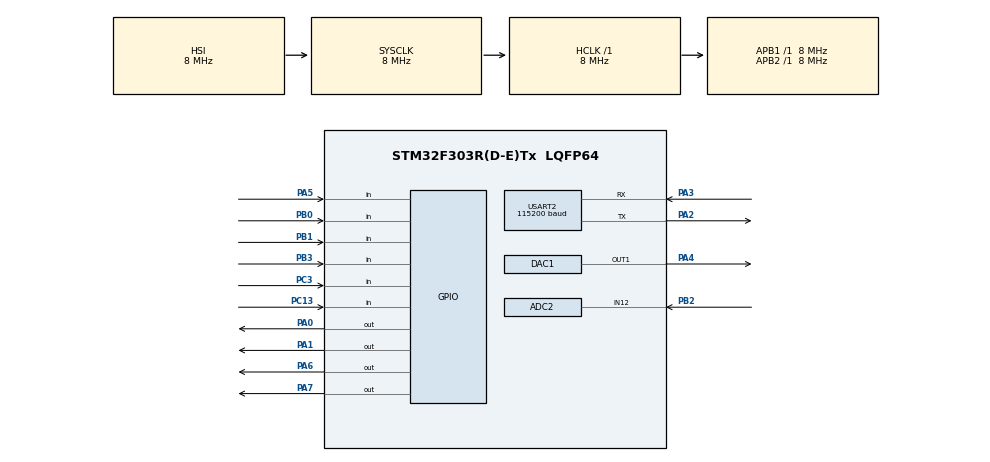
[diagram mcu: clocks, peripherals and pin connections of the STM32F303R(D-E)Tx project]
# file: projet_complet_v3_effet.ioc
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ADC2.Channel-0\#ChannelRegularConversion=ADC_CHANNEL_12
ADC2.NbrOfConversionFlag=1
ADC2.Offset-0\#ChannelRegularConversion=0
ADC2.OffsetNumber-0\#ChannelRegularConversion=ADC_OFFSET_NONE
ADC2.Rank-0\#ChannelRegularConversion=1
ADC2.SamplingTime-0\#ChannelRegularConversion=ADC_SAMPLETIME_1CYCLE_5
ADC2.SamplingTimeOPAMP-0\#ChannelRegularConversion=ADC_SAMPLETIME_4CYCLES_5
Mcu.Family=STM32F3
Mcu.Name=STM32F303R(D-E)Tx
Mcu.Package=LQFP64
NVIC.PriorityGroup=NVIC_PRIORITYGROUP_4
NVIC.TIM2_IRQn=true\:0\:0\:false\:false\:true\:true\:true\:true
NVIC.TIM6_DAC_IRQn=true\:0\:0\:false\:false\:true\:true\:true\:true
PA0.Signal=GPIO_Output
PA1.Signal=GPIO_Output
PA2.Mode=Asynchronous
PA2.Signal=USART2_TX
PA3.Mode=Asynchronous
PA3.Signal=USART2_RX
PA4.Signal=COMP_DAC11_group
PA5.GPIO_PuPd=GPIO_PULLUP
PA5.Signal=GPIO_Input
PA6.Signal=GPIO_Output
PA7.Signal=GPIO_Output
PB0.GPIO_PuPd=GPIO_PULLUP
PB0.Signal=GPIO_Input
PB1.GPIO_PuPd=GPIO_PULLUP
PB1.Signal=GPIO_Input
PB2.Mode=IN12-Single-Ended
PB2.Signal=ADC2_IN12
PB3.GPIO_PuPd=GPIO_PULLUP
PB3.Signal=GPIO_Input
PC13.GPIO_PuPd=GPIO_PULLUP
PC13.Signal=GPIO_Input
PC3.GPIO_PuPd=GPIO_PULLUP
PC3.Signal=GPIO_Input
ProjectManager.HeapSize=0x200
ProjectManager.StackSize=0x400
ProjectManager.TargetToolchain=STM32CubeIDE
RCC.AHBFreq_Value=8000000
RCC.APB1Freq_Value=8000000
RCC.APB2Freq_Value=8000000
RCC.CortexFreq_Value=8000000
RCC.HSE_VALUE=8000000
RCC.HSI_VALUE=8000000
RCC.LSE_VALUE=32768
RCC.PLLMUL=RCC_PLL_MUL4
RCC.SYSCLKFreq_VALUE=8000000
RCC.USBFreq_Value=16000000
SH.COMP_DAC11_group.0=DAC1_OUT1,DAC_OUT1
TIM2.Period=362
TIM2.TIM_MasterOutputTrigger=TIM_TRGO_UPDATE
TIM6.Period=\ 999
TIM6.Prescaler=7999
USART2.BaudRate=115200
USART2.VirtualMode-Asynchronous=VM_ASYNC
VP_TIM2_VS_ClockSourceINT.Mode=Internal
VP_TIM6_VS_ClockSourceINT.Mode=Enable_Timer
board=custom

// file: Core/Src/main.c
/* USER CODE BEGIN Header */
/**
 ******************************************************************************
 * @file : main.c
 * @brief : Main program body

 ******************************************************************************
 * @attention
 *
 * Copyright (c) 2026 STMicroelectronics.
 * All rights reserved.
 *
 * This software is licensed under terms that can be found in the LICENSE file
 * in the root directory of this software component.
 * If no LICENSE file comes with this software, it is provided AS-IS.
 *
 ******************************************************************************
 */

/* USER CODE END Header */

#include "main.h"

ADC_HandleTypeDef hadc2;
DAC_HandleTypeDef hdac1;
TIM_HandleTypeDef htim2;
TIM_HandleTypeDef htim6;
UART_HandleTypeDef huart2;

/* USER CODE BEGIN PV */

static float melody[] = {
 220, 246, 261, 293,
 329, 349, 392, 440,
 494, 523, 587, 659,
 698, 784, 880, 988
};

#define MELODY_LEN 16

volatile uint8_t note_index = 0;
volatile uint8_t sequencer_running = 0;

/* USER CODE END PV */
void SystemClock_Config(void);
static void MX_GPIO_Init(void);
static void MX_TIM2_Init(void);
static void MX_DAC1_Init(void);
static void MX_USART2_UART_Init(void);
static void MX_ADC2_Init(void);
static void MX_TIM6_Init(void);

/* USER CODE BEGIN 0 */

#define FS 22038.0f // fréquence échantillonnage
volatile float F0 = 988.0f;
volatile uint8_t effect_mode = 255;

char key = 0;
char keypad[4][4] =
{

 {'1','2','3','A'},
 {'4','5','6','B'},
 {'7','8','9','C'},
 {'0','F','E','D'}

};
static float freq_table[16] =

{
 220, 246, 261, 293,
 329, 349, 392, 440,
 494, 523, 587, 659,
698, 784, 880, 988
};

char last_key = 0;
char Keypad_Scan(void)
{
 GPIO_TypeDef* rowPorts[4] = {GPIOA, GPIOA, GPIOA, GPIOA};
 uint16_t rowPins[4] = {GPIO_PIN_0, GPIO_PIN_1, GPIO_PIN_6, GPIO_PIN_7};

 GPIO_TypeDef* colPorts[4] = {GPIOB, GPIOB, GPIOA, GPIOB};
 uint16_t colPins[4] = {GPIO_PIN_0, GPIO_PIN_1, GPIO_PIN_5, GPIO_PIN_3};

 for(int r = 0; r < 4; r++)
 {
 HAL_GPIO_WritePin(GPIOA,
 GPIO_PIN_0|GPIO_PIN_1|GPIO_PIN_6|GPIO_PIN_7,
 GPIO_PIN_SET);
 HAL_GPIO_WritePin(rowPorts[r], rowPins[r], GPIO_PIN_RESET);
 for(int c = 0; c < 4; c++)
 {
 if(HAL_GPIO_ReadPin(colPorts[c], colPins[c]) == GPIO_PIN_RESET)

{
 char current_key = keypad[r][c];
 if (current_key != last_key)

 {

 last_key = current_key;
 return current_key;
 }

 return 0;

 }

 }

 }

 last_key = 0;

 return 0;

}

// coefficients du filtre
static float b[3] = { 0.0168f, 0.0336f, 0.0168f };
static float a[3] = { 1.0f, -1.6011f, 0.6684f };
static float w[3] = { 0.0f, 0.0f, 0.0f };

float iir_filter(float x)

{

 float w0 = x - a[1]*w[1] - a[2]*w[2];
 float y = b[0]*w0 + b[1]*w[1] + b[2]*w[2];
 w[2] = w[1];
 w[1] = w0;
 return y;

}

void HAL_TIM_PeriodElapsedCallback(TIM_HandleTypeDef *htim)

{

 if (htim->Instance == TIM6)

 {

 if (sequencer_running)

 {

 F0 = melody[note_index];

 note_index = (note_index + 1) % MELODY_LEN;

 }

 }

 if (htim->Instance != TIM2) return;
 static float phase = 0.0f;

 /* 1. Carré à f= Hz */
 float sample = 0.0f;

 if (effect_mode == 2)

 sample = 2.0f * phase - 1.0f;
 else

 sample = (phase < 0.5f) ? 1.0f : -1.0f;
 phase += F0 / FS;
 if (phase >= 1.0f) phase -= 1.0f;

 /* 2. Filtre IIR seulement si effet 0 */
 if (effect_mode == 0)
 sample = iir_filter(sample);

 /* 3. CLAMPING — empêche le dépassement */

 if (sample > 1.0f) sample = 1.0f;
 if (sample < -1.0f) sample = -1.0f;

 /* 4. DAC : [-1,+1] → [0, 4095] */

 if (effect_mode == 255)
 HAL_DAC_SetValue(&hdac1, DAC_CHANNEL_1, DAC_ALIGN_12B_R, 2048);
 else

 {

 uint32_t val = (uint32_t)((sample + 1.0f) * 0.5f * 4095.0f);
 HAL_DAC_SetValue(&hdac1, DAC_CHANNEL_1, DAC_ALIGN_12B_R, val);

 }

}

/* USER CODE END 0 */

int main(void)

{

 /* MCU Configuration--------------------------------------------------------*/

 /* Reset of all peripherals, Initializes the Flash interface and the Systick. */

 HAL_Init();

 /* Configure the system clock */
 SystemClock_Config();

 /* Initialize all configured peripherals */

 MX_GPIO_Init();
 MX_TIM2_Init();
 MX_DAC1_Init();
 MX_USART2_UART_Init();
 MX_ADC2_Init();
 MX_TIM6_Init();

 /* USER CODE BEGIN 2 */

 HAL_DAC_Start(&hdac1, DAC_CHANNEL_1);
 HAL_TIM_Base_Start_IT(&htim2);
 HAL_TIM_Base_Start_IT(&htim6);

 /* USER CODE END 2 */
 /* Infinite loop */
 while (1)
 {

 key = Keypad_Scan();
 if (key == 'A') { if (effect_mode == 0) effect_mode = 255; else { effect_mode = 0; w[0]=w[1]=w[2]=0.0f; } }
 if (key == 'B') { if (effect_mode == 1) effect_mode = 255; else effect_mode = 1; }
 if (key == 'C') { if (effect_mode == 2) effect_mode = 255; else effect_mode = 2; }
 if (key != 0 && !sequencer_running) // clavier actif seulement si séquenceur OFF

 {

 for (int r = 0; r < 4; r++)
 for (int c = 0; c < 4; c++)
 if (keypad[r][c] == key)

 F0 = freq_table[r * 4 + c];

 }

 // Bouton START/STOP

 static uint8_t btn_prev = 1;
 uint8_t btn_now = HAL_GPIO_ReadPin(GPIOC, GPIO_PIN_13);
 if (btn_prev == 1 && btn_now == 0)

 {

 sequencer_running = !sequencer_running;
 if (sequencer_running && effect_mode == 255)
     {
         effect_mode = 0;  // active IIR par défaut si aucun effet
         w[0]=w[1]=w[2]=0.0f;
     }

 }

 btn_prev = btn_now;

 // Potentiomètre tempo

 HAL_ADC_Start(&hadc2);
 HAL_ADC_PollForConversion(&hadc2, 10);
 uint32_t adc_val = HAL_ADC_GetValue(&hadc2);
 uint32_t period = 500 + (adc_val * 7500 / 4095);
 __HAL_TIM_SET_AUTORELOAD(&htim6, period);

 }
}

void SystemClock_Config(void)

{

 RCC_OscInitTypeDef RCC_OscInitStruct = {0};
 RCC_ClkInitTypeDef RCC_ClkInitStruct = {0};
 RCC_PeriphCLKInitTypeDef PeriphClkInit = {0};

 /** Initializes the RCC Oscillators according to the specified parameters

 * in the RCC_OscInitTypeDef structure.

 */

 RCC_OscInitStruct.OscillatorType = RCC_OSCILLATORTYPE_HSI;
 RCC_OscInitStruct.HSIState = RCC_HSI_ON;
 RCC_OscInitStruct.HSICalibrationValue = RCC_HSICALIBRATION_DEFAULT;
 RCC_OscInitStruct.PLL.PLLState = RCC_PLL_ON;
 RCC_OscInitStruct.PLL.PLLSource = RCC_PLLSOURCE_HSI;
 RCC_OscInitStruct.PLL.PLLMUL = RCC_PLL_MUL4;
 RCC_OscInitStruct.PLL.PREDIV = RCC_PREDIV_DIV1;

 if (HAL_RCC_OscConfig(&RCC_OscInitStruct) != HAL_OK)
 {
 Error_Handler();
 }

 /** Initializes the CPU, AHB and APB buses clocks

 */

 RCC_ClkInitStruct.ClockType = RCC_CLOCKTYPE_HCLK|RCC_CLOCKTYPE_SYSCL
 |RCC_CLOCKTYPE_PCLK1|RCC_CLOCKTYPE_PCLK2;
 RCC_ClkInitStruct.SYSCLKSource = RCC_SYSCLKSOURCE_HSI;
 RCC_ClkInitStruct.AHBCLKDivider = RCC_SYSCLK_DIV1;
 RCC_ClkInitStruct.APB1CLKDivider = RCC_HCLK_DIV1;
 RCC_ClkInitStruct.APB2CLKDivider = RCC_HCLK_DIV1;

 if (HAL_RCC_ClockConfig(&RCC_ClkInitStruct, FLASH_LATENCY_0) != HAL_OK)
 {
 Error_Handler();
 }

 PeriphClkInit.PeriphClockSelection = RCC_PERIPHCLK_USART2|RCC_PERIPHCLK_ADC12
 |RCC_PERIPHCLK_TIM2;
 PeriphClkInit.Usart2ClockSelection = RCC_USART2CLKSOURCE_PCLK1;
 PeriphClkInit.Adc12ClockSelection = RCC_ADC12PLLCLK_DIV1;
 PeriphClkInit.Tim2ClockSelection = RCC_TIM2CLK_HCLK;

 if (HAL_RCCEx_PeriphCLKConfig(&PeriphClkInit) != HAL_OK)
 {
 Error_Handler();
 }
}

static void MX_ADC2_Init(void)

{

 ADC_ChannelConfTypeDef sConfig = {0};

 /** Common config

 */
 hadc2.Instance = ADC2;
 hadc2.Init.ClockPrescaler = ADC_CLOCK_ASYNC_DIV1;
 hadc2.Init.Resolution = ADC_RESOLUTION_12B;
 hadc2.Init.ScanConvMode = ADC_SCAN_DISABLE;
 hadc2.Init.ContinuousConvMode = DISABLE;
 hadc2.Init.DiscontinuousConvMode = DISABLE;
 hadc2.Init.ExternalTrigConvEdge = ADC_EXTERNALTRIGCONVEDGE_NONE;
 hadc2.Init.ExternalTrigConv = ADC_SOFTWARE_START;
 hadc2.Init.DataAlign = ADC_DATAALIGN_RIGHT;
 hadc2.Init.NbrOfConversion = 1;
 hadc2.Init.DMAContinuousRequests = DISABLE;
 hadc2.Init.EOCSelection = ADC_EOC_SINGLE_CONV;
 hadc2.Init.LowPowerAutoWait = DISABLE;
 hadc2.Init.Overrun = ADC_OVR_DATA_OVERWRITTEN;

 if (HAL_ADC_Init(&hadc2) != HAL_OK)
 {
 Error_Handler();

 }

 /** Configure Regular Channel

 */

 sConfig.Channel = ADC_CHANNEL_12;
 sConfig.Rank = ADC_REGULAR_RANK_1;
 sConfig.SingleDiff = ADC_SINGLE_ENDED;
 sConfig.SamplingTime = ADC_SAMPLETIME_1CYCLE_5;
 sConfig.OffsetNumber = ADC_OFFSET_NONE;
 sConfig.Offset = 0;

 if (HAL_ADC_ConfigChannel(&hadc2, &sConfig) != HAL_OK)
 {
 Error_Handler();
 }

}

static void MX_DAC1_Init(void)
{
 DAC_ChannelConfTypeDef sConfig = {0};
 /** DAC Initialization
 */
 hdac1.Instance = DAC1;
 if (HAL_DAC_Init(&hdac1) != HAL_OK)
 {
 Error_Handler();
 }
 /** DAC channel OUT1 config

 */

 sConfig.DAC_Trigger = DAC_TRIGGER_NONE;
 sConfig.DAC_OutputBuffer = DAC_OUTPUTBUFFER_ENABLE;
 if (HAL_DAC_ConfigChannel(&hdac1, &sConfig, DAC_CHANNEL_1) != HAL_OK)
 {
 Error_Handler();

 }
}

static void MX_TIM2_Init(void)

{

 TIM_ClockConfigTypeDef sClockSourceConfig = {0};
 TIM_MasterConfigTypeDef sMasterConfig = {0};

 htim2.Instance = TIM2;
 htim2.Init.Prescaler = 0;
 htim2.Init.CounterMode = TIM_COUNTERMODE_UP;
 htim2.Init.Period = 362;
 htim2.Init.ClockDivision = TIM_CLOCKDIVISION_DIV1;
 htim2.Init.AutoReloadPreload = TIM_AUTORELOAD_PRELOAD_DISABLE;
 if (HAL_TIM_Base_Init(&htim2) != HAL_OK)

 {

 Error_Handler();

 }

 sClockSourceConfig.ClockSource = TIM_CLOCKSOURCE_INTERNAL;
 if (HAL_TIM_ConfigClockSource(&htim2, &sClockSourceConfig) != HAL_OK)

 {

 Error_Handler();

 }

 sMasterConfig.MasterOutputTrigger = TIM_TRGO_UPDATE;
 sMasterConfig.MasterSlaveMode = TIM_MASTERSLAVEMODE_DISABLE;
 if (HAL_TIMEx_MasterConfigSynchronization(&htim2, &sMasterConfig) != HAL_OK)
 {
 Error_Handler();

 }

}

static void MX_TIM6_Init(void)
{

 TIM_MasterConfigTypeDef sMasterConfig = {0};

 htim6.Instance = TIM6;
 htim6.Init.Prescaler = 7999;
 htim6.Init.CounterMode = TIM_COUNTERMODE_UP;
 htim6.Init.Period = 999;
 htim6.Init.AutoReloadPreload = TIM_AUTORELOAD_PRELOAD_DISABLE;

 if (HAL_TIM_Base_Init(&htim6) != HAL_OK)

 {

 Error_Handler();

 }

 sMasterConfig.MasterOutputTrigger = TIM_TRGO_RESET;
 sMasterConfig.MasterSlaveMode = TIM_MASTERSLAVEMODE_DISABLE;

 if (HAL_TIMEx_MasterConfigSynchronization(&htim6, &sMasterConfig) != HAL_OK)

 {

 Error_Handler();
 }

}

static void MX_USART2_UART_Init(void)

{

 huart2.Instance = USART2;
 huart2.Init.BaudRate = 115200;
 huart2.Init.WordLength = UART_WORDLENGTH_8B;
 huart2.Init.StopBits = UART_STOPBITS_1;
 huart2.Init.Parity = UART_PARITY_NONE;
 huart2.Init.Mode = UART_MODE_TX_RX;
 huart2.Init.HwFlowCtl = UART_HWCONTROL_NONE;
 huart2.Init.OverSampling = UART_OVERSAMPLING_16;
 huart2.Init.OneBitSampling = UART_ONE_BIT_SAMPLE_DISABLE;
 huart2.AdvancedInit.AdvFeatureInit = UART_ADVFEATURE_NO_INIT;

 if (HAL_UART_Init(&huart2) != HAL_OK)
 {

 Error_Handler();

 }

}

static void MX_GPIO_Init(void)

{

 GPIO_InitTypeDef GPIO_InitStruct = {0};
 /* GPIO Ports Clock Enable */

 __HAL_RCC_GPIOC_CLK_ENABLE();
 __HAL_RCC_GPIOA_CLK_ENABLE();
 __HAL_RCC_GPIOB_CLK_ENABLE();

 /*Configure GPIO pin Output Level */

 HAL_GPIO_WritePin(GPIOA, GPIO_PIN_0|GPIO_PIN_1|GPIO_PIN_6|GPIO_PIN_7, GPIO_PIN_RESET);

 /*Configure GPIO pin : PC13 */

 GPIO_InitStruct.Pin = GPIO_PIN_13;
 GPIO_InitStruct.Mode = GPIO_MODE_INPUT;
 GPIO_InitStruct.Pull = GPIO_NOPULL;
 HAL_GPIO_Init(GPIOC, &GPIO_InitStruct);

 /*Configure GPIO pins : PA0 PA1 PA6 PA7 */

 GPIO_InitStruct.Pin = GPIO_PIN_0|GPIO_PIN_1|GPIO_PIN_6|GPIO_PIN_7;
 GPIO_InitStruct.Mode = GPIO_MODE_OUTPUT_PP;
 GPIO_InitStruct.Pull = GPIO_NOPULL;
 GPIO_InitStruct.Speed = GPIO_SPEED_FREQ_LOW;
 HAL_GPIO_Init(GPIOA, &GPIO_InitStruct);

 /*Configure GPIO pin : PA5 */

 GPIO_InitStruct.Pin = GPIO_PIN_5;
 GPIO_InitStruct.Mode = GPIO_MODE_INPUT;
 GPIO_InitStruct.Pull = GPIO_PULLUP;
 HAL_GPIO_Init(GPIOA, &GPIO_InitStruct);

 /*Configure GPIO pins : PB0 PB1 PB3 */

 GPIO_InitStruct.Pin = GPIO_PIN_0|GPIO_PIN_1|GPIO_PIN_3;
 GPIO_InitStruct.Mode = GPIO_MODE_INPUT;
 GPIO_InitStruct.Pull = GPIO_PULLUP;
 HAL_GPIO_Init(GPIOB, &GPIO_InitStruct);

}

void Error_Handler(void)

{

 __disable_irq();
 while (1)
 {
 }

}
